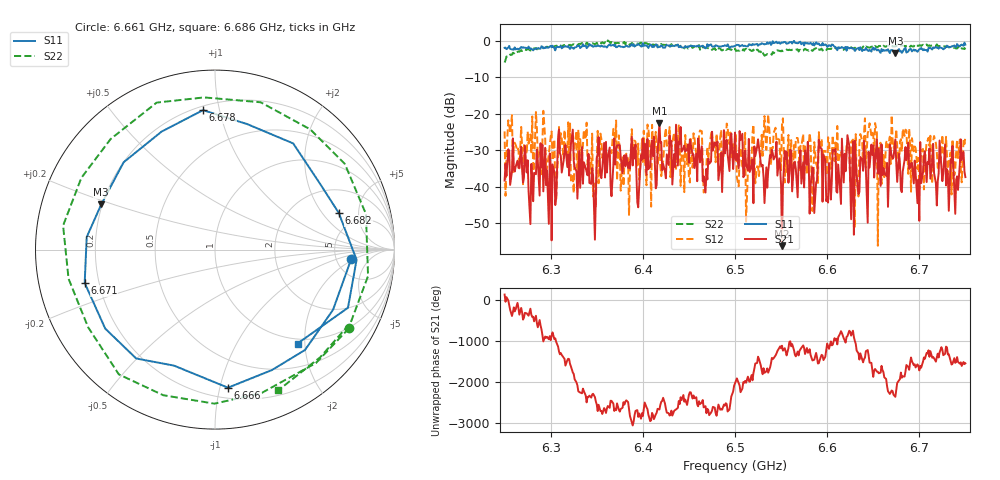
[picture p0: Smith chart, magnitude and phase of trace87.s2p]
# Hz S RI R 50
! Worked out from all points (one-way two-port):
!   401 points, 6.25 GHz to 6.75 GHz, reference 50 ohm
!   highest |S21| = -22.48 dB at 6.418 GHz (marker M1); lowest = -56.4 dB at 6.551 GHz (marker M2)
!   lowest |S11| = -3.3 dB at 6.674 GHz (marker M3), VSWR 5.29, Z = 9.79 + j9.21 ohm
!   |S11| at or under -10 dB: nowhere
!   |S22| runs from -5.9 to 0.2 dB; largest |S21 - S12| = 0.12
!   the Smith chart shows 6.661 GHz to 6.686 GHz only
!   S11 on the Smith chart (normalised r, x): 6.661 GHz: 6.97, -1.67; 6.666 GHz: 0.28, -1.06; 6.671 GHz: 0.15, -0.12; 6.678 GHz: 0.22, +0.89; 6.682 GHz: 3.50, +2.96; 6.686 GHz: 0.91, -1.85
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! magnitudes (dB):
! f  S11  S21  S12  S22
! 6.25 GHz  -1.8  -38.3  -24.8  -5.9
! 6.334 GHz  -1.5  -29.1  -32.5  -0.5
! 6.346 GHz  -1.6  -36.9  -42.7  -0.6
! 6.369 GHz  -1.3  -26.7  -24.6  -0.2
! 6.379 GHz  -1.7  -32.2  -39.9  -0.3
! 6.418 GHz  -1.5  -22.5  -26.8  -1.0
! 6.5 GHz  -1.4  -25.1  -28.9  -2.1
! 6.551 GHz  -0.3  -56.4  -22.9  -2.6
! 6.584 GHz  -1.0  -34.7  -46.7  -2.7
! 6.591 GHz  -0.6  -27.1  -25.0  -2.3
! 6.601 GHz  -1.4  -44.4  -26.4  -2.2
! 6.631 GHz  -2.4  -32.6  -25.6  -1.6
! 6.646 GHz  -2.4  -34.8  -22.6  -1.8
! 6.661 GHz  -2.4  -34.9  -31.3  -1.2
! 6.666 GHz  -2.2  -45.6  -29.2  -1.3
! 6.668 GHz  -3.3  -28.5  -26.3  -1.1
! 6.671 GHz  -2.5  -32.4  -26.8  -1.3
! 6.674 GHz  -3.3  -27.0  -27.9  -1.4
! 6.678 GHz  -2.2  -31.0  -35.0  -1.3
! 6.682 GHz  -2.9  -35.8  -24.1  -1.3
! 6.686 GHz  -3.1  -32.7  -24.6  -1.3
! 6.75 GHz  -1.0  -37.4  -26.2  -2.3
